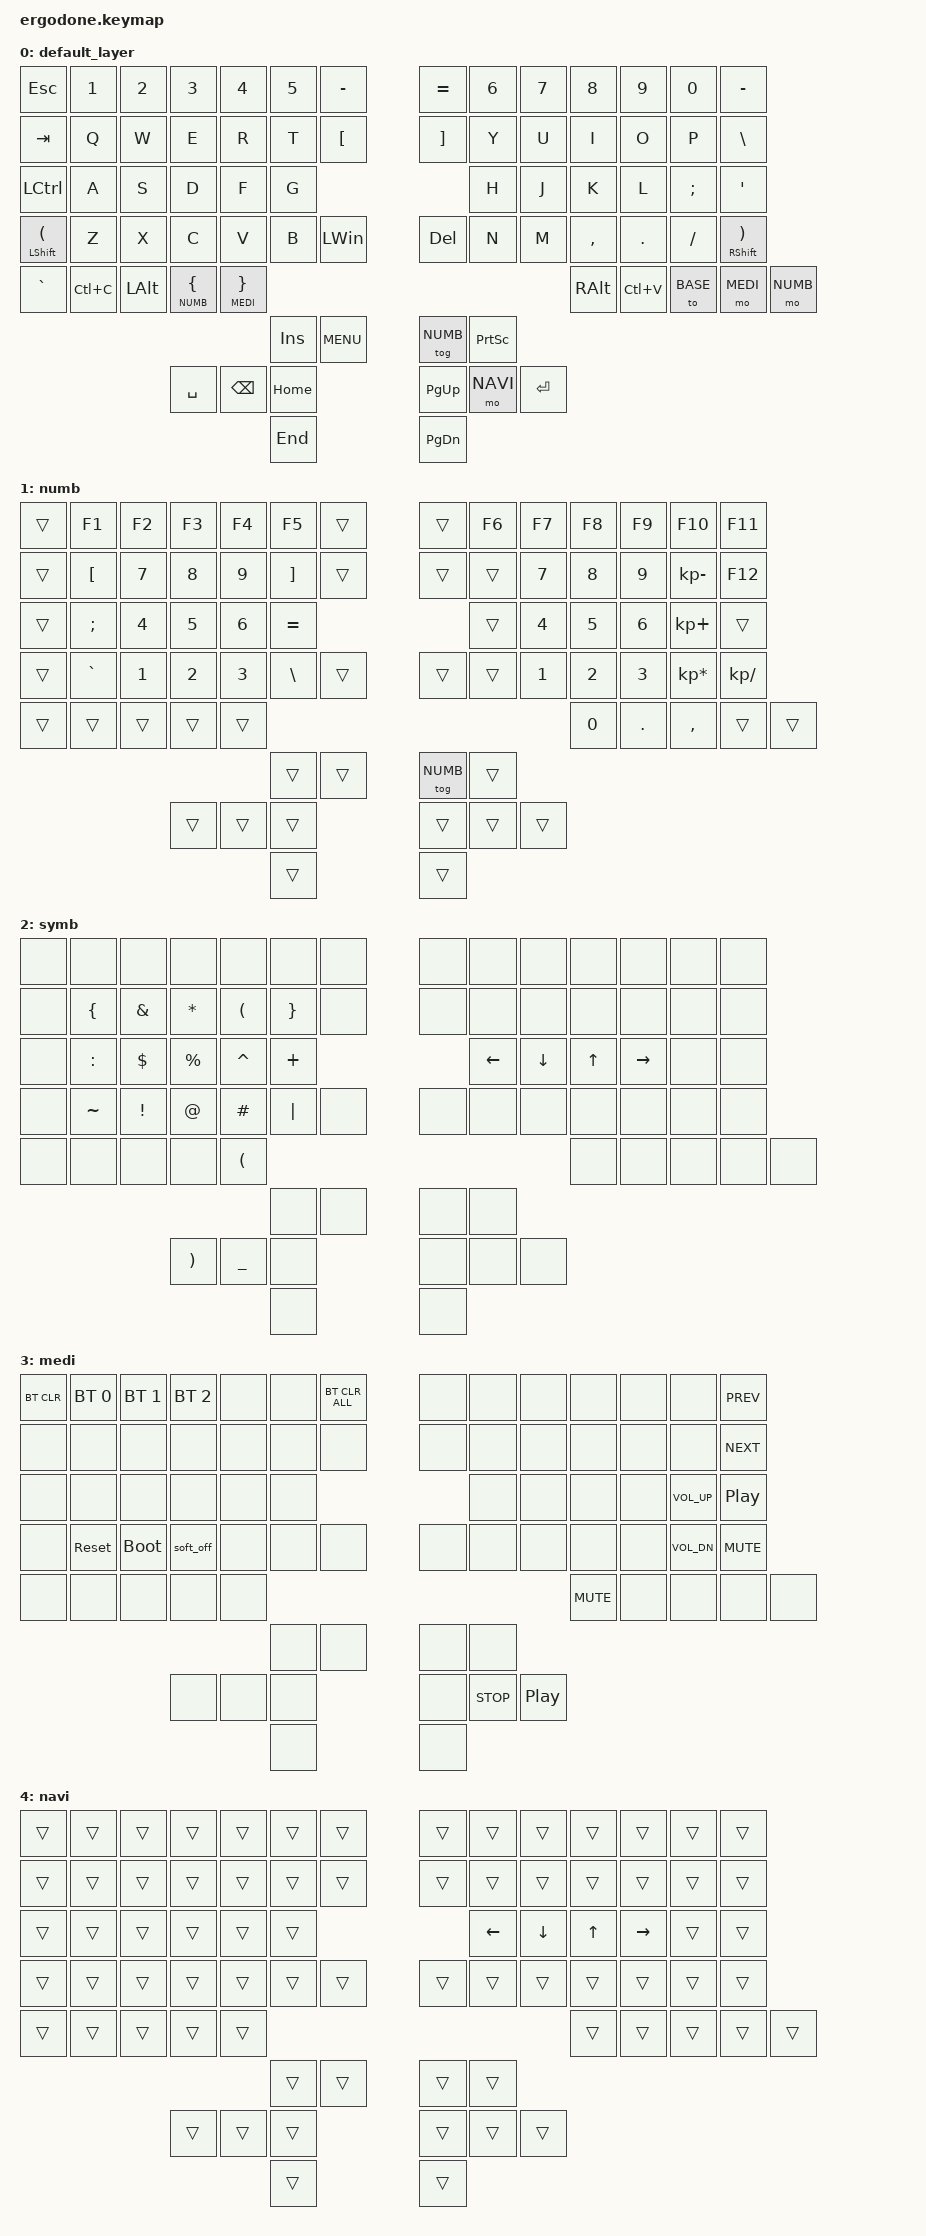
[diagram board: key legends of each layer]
/*
 * Copyright (c) 2020 The ZMK Contributors
 *
 * SPDX-License-Identifier: MIT
 */

#include <behaviors.dtsi>
#include <dt-bindings/zmk/keys.h>
#include <dt-bindings/zmk/bt.h>
#include <dt-bindings/zmk/outputs.h>


#define HYPER(key) LS(LC(LA(LG(key))))

#define BASE 0
#define NUMB 1
#define SYMB 2
#define MEDI 3
#define NAVI 4

/ {    
    keymap {
        compatible = "zmk,keymap";

        default_layer {
			bindings = <
            &kp ESC          &kp N1      &kp N2       &kp   N3     &kp    N4     &kp N5  &kp MINUS            &kp EQUAL &kp  N6 &kp N7  &kp N8  &kp N9 &kp N0 &kp MINUS
            &kp TAB          &kp Q       &kp W        &kp    E     &kp     R     &kp  T  &kp LEFT_BRACKET     &kp RIGHT_BRACKET &kp  Y  &kp U   &kp I   &kp O  &kp  P  &kp BACKSLASH
            &kp LCTRL        &kp A       &kp S        &kp    D     &kp     F     &kp  G                               &kp H &kp J &kp K &kp L &kp SEMI &kp APOSTROPHE
            &mt LSHFT LPAR    &kp Z        &kp  X    &kp  C  &kp  V  &kp  B  &kp LEFT_WIN               &kp DEL &kp N &kp M &kp COMMA &kp DOT &kp FSLH &mt RSHFT RPAR
            &kp GRAVE       &kp LC(C)   &kp LALT &lt NUMB LBRC   &lt MEDI RBRC                                       &kp RALT &kp LC(V) &to BASE &mo MEDI &mo NUMB
                                                    &kp INS  &kp K_MENU                                       &tog NUMB &kp PSCRN
                                            &kp SPACE &kp BSPC  &kp HOME                                 &kp PAGE_UP &mo NAVI &kp ENTER
                                                                    &kp END                                   &kp PAGE_DOWN
			>;
        };

        numb {
			bindings = <
            &trans &kp F1    &kp F2 &kp F3 &kp F4 &kp F5   &trans        &trans &kp F6 &kp F7 &kp F8 &kp F9 &kp F10 &kp F11
            &trans &kp LBKT  &kp N7 &kp N8 &kp N9 &kp RBKT &trans        &trans &trans &kp N7 &kp N8 &kp N9 &kp KP_MINUS &kp F12
            &trans &kp SEMI  &kp N4 &kp N5 &kp N6 &kp EQUAL                   &trans &kp N4 &kp N5 &kp N6 &kp KP_PLUS &trans
            &trans &kp GRAVE &kp N1 &kp N2 &kp N3 &kp BSLH &trans        &trans &trans &kp N1 &kp N2 &kp N3 &kp KP_ASTERISK &kp KP_DIVIDE
            &trans &trans &trans &trans &trans                                           &kp N0 &kp DOT &kp COMMA &trans &trans
                                               &trans &trans             &tog NUMB &trans
                                    &trans  &trans  &trans             &trans &trans &trans
                                                     &trans             &trans
			>;
        };

        symb {
			bindings = <
            &none &none &none &none &none &none &none                      &none &none &none &none &none &none &none
            &none &kp LBRC  &kp AMPS &kp STAR  &kp LPAR  &kp RBRC &none    &none &none &none &none &none &none &none
            &none &kp COLON &kp DLLR &kp PRCNT &kp CARET &kp PLUS                &kp LEFT &kp DOWN &kp UP &kp RIGHT &none &none
            &none &kp TILDE &kp EXCL &kp   AT  &kp HASH  &kp PIPE &none    &none &none &none &none &none &none &none
            &none &none &none &none &kp LPAR                                           &none &none &none &none &none
                                                 &none &none                &none &none
                                    &kp RPAR &kp UNDER &none                &none &none &none
                                                       &none                &none
			>;
        };

        medi {
			bindings = <
            &bt BT_CLR &bt BT_SEL 0 &bt BT_SEL 1 &bt BT_SEL 2 &none &none &bt BT_CLR_ALL      &none &none &none &none &none &none &kp C_PREV
            &none &none &none &none &none &none &none      &none &none &none &none &none &none &kp C_NEXT
            &none &none &none &none &none &none                  &none &none &none &none &kp C_VOL_UP &kp C_PLAY_PAUSE
            &none &sys_reset &bootloader &soft_off &none &none &none      &none &none &none &none &none &kp C_VOL_DN &kp C_MUTE
            &none &none &none &none &none                              &kp C_MUTE &none &none &none &none
                                          &none &none      &none &none
                                    &none &none &none      &none &kp C_STOP  &kp C_PP
                                                &none      &none
			>;
        };

        navi {
			bindings = <
            &trans &trans &trans &trans &trans &trans &trans    &trans &trans &trans &trans &trans &trans &trans
            &trans &trans &trans &trans &trans &trans &trans    &trans &trans &trans &trans &trans &trans &trans
            &trans &trans &trans &trans &trans &trans                  &kp LEFT &kp DOWN &kp UP &kp RIGHT &trans &trans
            &trans &trans &trans &trans &trans &trans &trans    &trans &trans &trans &trans &trans &trans &trans
            &trans &trans &trans &trans &trans                            &trans &trans &trans &trans &trans
                                          &trans &trans         &trans &trans
                                    &trans &trans &trans        &trans &trans &trans
                                                &trans          &trans
			>;
        };

        /*
        empty {
			bindings = <
            &none &none &none &none &none &none &none    &none &none &none &none &none &none &none
            &none &none &none &none &none &none &none    &none &none &none &none &none &none &none
            &none &none &none &none &none &none                &none &none &none &none &none &none
            &none &none &none &none &none &none &none    &none &none &none &none &none &none &none
            &none &none &none &none &none                            &none &none &none &none &none
                                          &none &none    &none &none
                                    &none &none &none    &none &none &none
                                                &none    &none
			>;
        };
        */
    };
};
